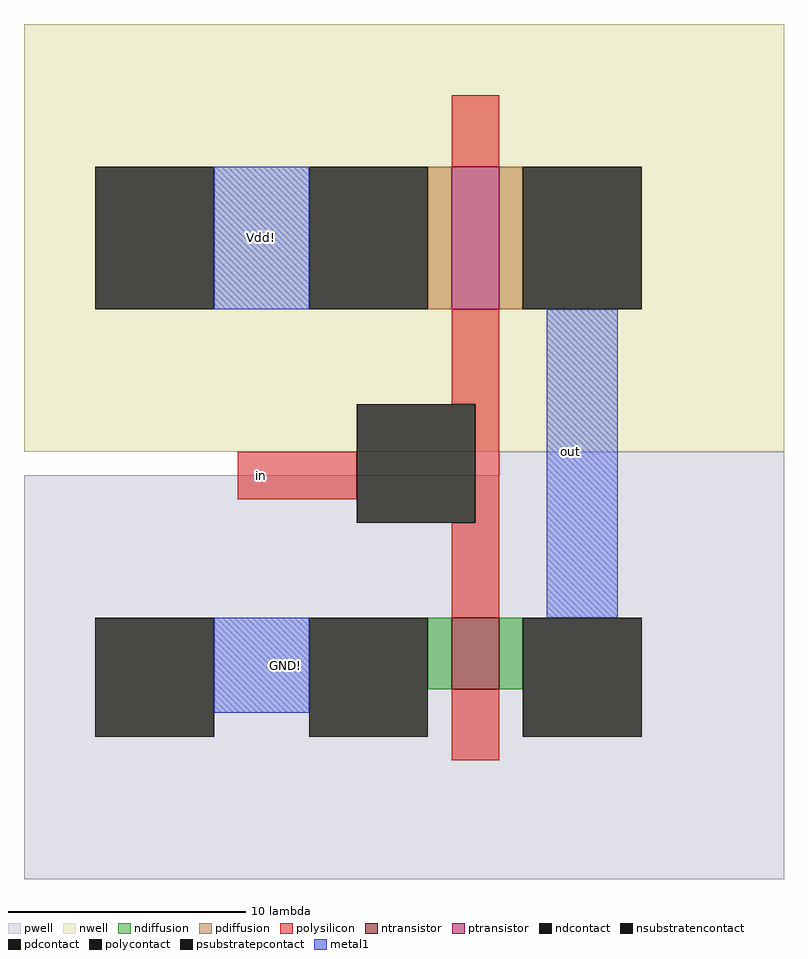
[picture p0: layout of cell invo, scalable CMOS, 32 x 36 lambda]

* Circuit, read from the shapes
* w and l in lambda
.subckt invo out in GND! Vdd!
M1 out in GND! GND! nfet w=3 l=2
M2 out in Vdd! Vdd! pfet w=6 l=2
.ends

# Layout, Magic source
magic
tech scmos
<< nwell >>
rect -22 -2 10 16
<< pwell >>
rect -2 -3 10 -2
rect -22 -20 10 -3
<< ntransistor >>
rect -4 -12 -2 -9
<< ptransistor >>
rect -4 4 -2 10
<< ndiffusion >>
rect -5 -12 -4 -9
rect -2 -12 -1 -9
<< pdiffusion >>
rect -5 4 -4 10
rect -2 4 -1 10
<< ndcontact >>
rect -10 -14 -5 -9
rect -1 -14 4 -9
<< pdcontact >>
rect -10 4 -5 10
rect -1 4 4 10
<< psubstratepcontact >>
rect -19 -14 -14 -9
<< nsubstratencontact >>
rect -19 4 -14 10
<< polysilicon >>
rect -4 10 -2 13
rect -4 0 -2 4
rect -13 -4 -8 -2
rect -3 -5 -2 0
rect -4 -9 -2 -5
rect -4 -15 -2 -12
<< polycontact >>
rect -8 -5 -3 0
<< metal1 >>
rect -14 4 -10 10
rect 0 -9 3 4
rect -14 -13 -10 -9
<< labels >>
rlabel polysilicon -12 -3 -12 -3 1 in
port 2 n
rlabel metal1 -11 -11 -11 -11 1 GND!
port 3 n
rlabel metal1 -12 7 -12 7 1 Vdd!
port 4 n
rlabel metal1 1 -2 1 -2 1 out
port 1 n
<< end >>
